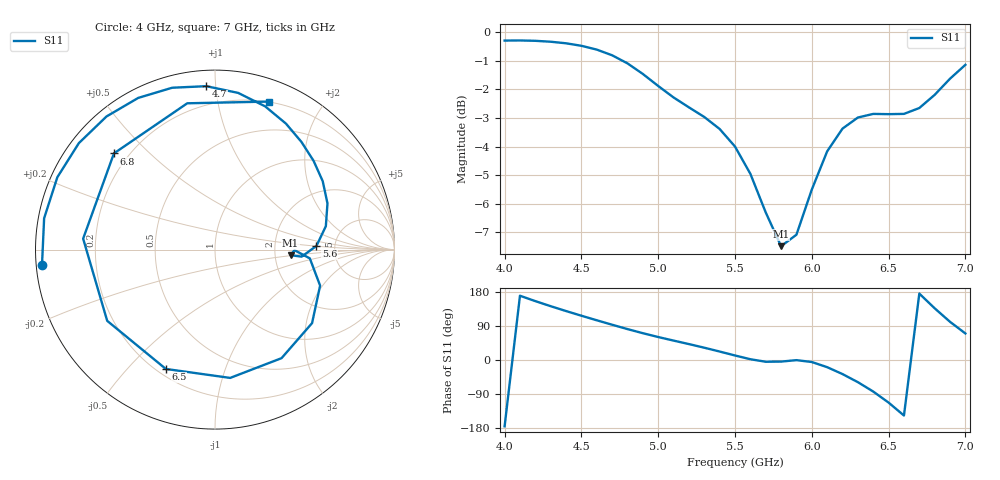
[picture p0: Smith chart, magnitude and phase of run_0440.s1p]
! Touchstone file exported from HFSS 2024.2.0
!  File:  C:/Users/wsak9/Desktop/Sim Fast/Widenad Patch/WP_AI_V1_sweep.aedt
!  Generated:  10:06:08 AM Oct 14, 2026
!  Design:  A1_model
!  Project:  WP_AI_V1_sweep
!  Setup:  Setup1
!  Solution:  Sweep
! Variables:
!  Air_gap = 3.51mm
!  Curve_Amp1 = 1.86
!  Curve_len1 = 1
!  Curve_pos = 10.56mm
!  Extra = 1.92mm
!  H_sub = 0.79mm
!  L_Patch = 17.12mm
!  L_Patch1 = 15.71mm
!  Sx = 0.44mm
!  Sy = 2.75mm
!  WS = 0.47mm
!  W_Patch = 13.3mm
!  W_Patch1 = 13.79mm
!Data is not renormalized
# GHz S MA
! Terminal data exported
! Port[1] = 1
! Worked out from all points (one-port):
!   31 points, 4 GHz to 7 GHz, reference per port
!   lowest |S11| = -7.5 dB at 5.8 GHz (marker M1), VSWR 2.46
!   |S11| at or under -10 dB: nowhere
!   S11 on the Smith chart (normalised r, x): 4 GHz: 0.02, -0.04; 4.7 GHz: 0.09, +0.94; 5.6 GHz: 3.59, +0.21; 6.5 GHz: 0.23, -0.64; 6.8 GHz: 0.14, +0.39; 7 GHz: 0.20, +1.41
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4  0.9674 -175.0
4.1  0.9679 169.6
4.2  0.9665 155.4
4.3  0.963 142.0
4.4  0.9569 129.2
4.5  0.9473 116.8
4.6  0.9328 104.8
4.7  0.9117 93.0
4.8  0.8825 81.6
5  0.8056 60.6
5.2  0.7391 42.0
5.4  0.6774 22.3
5.5  0.6312 11.9
5.6  0.5655 2.1
5.7  0.484 -4.7
5.8  0.4224 -4.2
5.9  0.4424 -0.4
6  0.5306 -5.3
6.1  0.6191 -18.9
6.2  0.6785 -37.1
6.3  0.7095 -58.5
6.4  0.7199 -83.3
6.5  0.7192 -112.4
6.6  0.7199 -146.5
6.7  0.7372 175.3
6.8  0.7774 136.4
6.9  0.8297 100.7
7  0.8774 70.0
